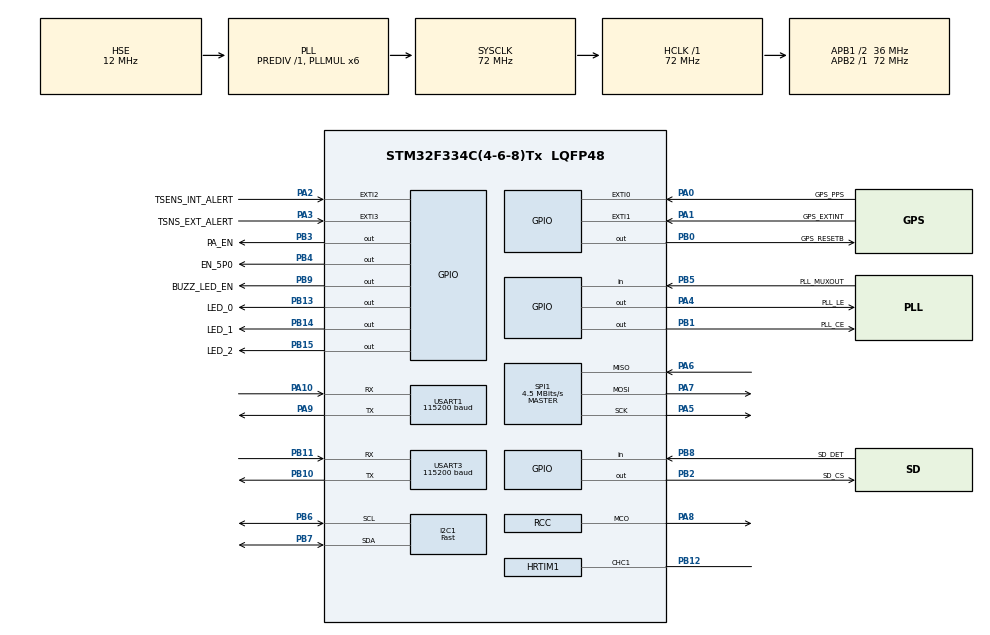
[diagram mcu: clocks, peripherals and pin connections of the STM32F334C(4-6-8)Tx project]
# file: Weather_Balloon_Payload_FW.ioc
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Dma.Request0=USART3_RX
Dma.Request1=USART3_TX
Dma.USART3_RX.0.Direction=DMA_PERIPH_TO_MEMORY
Dma.USART3_RX.0.Instance=DMA1_Channel3
Dma.USART3_RX.0.MemDataAlignment=DMA_MDATAALIGN_BYTE
Dma.USART3_RX.0.MemInc=DMA_MINC_ENABLE
Dma.USART3_RX.0.Mode=DMA_NORMAL
Dma.USART3_RX.0.PeriphDataAlignment=DMA_PDATAALIGN_BYTE
Dma.USART3_RX.0.PeriphInc=DMA_PINC_DISABLE
Dma.USART3_RX.0.Priority=DMA_PRIORITY_LOW
Dma.USART3_TX.1.Direction=DMA_MEMORY_TO_PERIPH
Dma.USART3_TX.1.Instance=DMA1_Channel2
Dma.USART3_TX.1.MemDataAlignment=DMA_MDATAALIGN_BYTE
Dma.USART3_TX.1.MemInc=DMA_MINC_ENABLE
Dma.USART3_TX.1.Mode=DMA_NORMAL
Dma.USART3_TX.1.PeriphDataAlignment=DMA_PDATAALIGN_BYTE
Dma.USART3_TX.1.PeriphInc=DMA_PINC_DISABLE
Dma.USART3_TX.1.Priority=DMA_PRIORITY_LOW
HRTIM1.CalibrationRate_nonIT=HRTIM_CALIBRATIONRATE_7300
HRTIM1.CompareUnit1-Output_TC1=HRTIM_COMPAREUNIT_1
HRTIM1.CompareValue1-Output_TC1=722
HRTIM1.NumberResetSource1-Output_TC1=1
HRTIM1.NumberResetTrigger-Output_TC1=0
HRTIM1.NumberSetSource1-Output_TC1=1
HRTIM1.Periode_TC=1444
HRTIM1.ResetOutput1_Source1-Output_TC1=HRTIM_OUTPUTRESET_TIMCMP1
HRTIM1.SetOutput1_Source1-Output_TC1=HRTIM_OUTPUTSET_TIMPER
I2C1.I2C_Speed_Mode=I2C_Fast
I2C1.Timing=0x0000020B
Mcu.Family=STM32F3
Mcu.Name=STM32F334C(4-6-8)Tx
Mcu.Package=LQFP48
NVIC.DMA1_Channel2_IRQn=true\:0\:0\:false\:false\:true\:false\:true\:true
NVIC.DMA1_Channel3_IRQn=true\:0\:0\:false\:false\:true\:false\:true\:true
NVIC.EXTI0_IRQn=true\:0\:0\:false\:false\:true\:true\:true\:true
NVIC.EXTI1_IRQn=true\:0\:0\:false\:false\:true\:true\:true\:true
NVIC.EXTI2_TSC_IRQn=true\:0\:0\:false\:false\:true\:true\:true\:true
NVIC.EXTI3_IRQn=true\:0\:0\:false\:false\:true\:true\:true\:true
NVIC.PriorityGroup=NVIC_PRIORITYGROUP_4
NVIC.TIM1_BRK_TIM15_IRQn=true\:0\:0\:false\:false\:true\:true\:true\:true
NVIC.TIM1_CC_IRQn=true\:0\:0\:false\:false\:true\:true\:true\:true
NVIC.TIM1_TRG_COM_TIM17_IRQn=true\:0\:0\:false\:false\:true\:true\:true\:true
NVIC.TIM1_UP_TIM16_IRQn=true\:0\:0\:false\:false\:true\:true\:true\:true
NVIC.TIM2_IRQn=true\:0\:0\:false\:false\:true\:true\:true\:true
NVIC.USART3_IRQn=true\:0\:0\:false\:false\:true\:true\:true\:true
PA0.GPIO_Label=GPS_PPS
PA0.GPIO_PuPd=GPIO_PULLDOWN
PA0.Signal=GPXTI0
PA1.GPIO_Label=GPS_EXTINT
PA1.Signal=GPXTI1
PA10.Mode=Asynchronous
PA10.Signal=USART1_RX
PA13.Mode=Serial_Wire
PA13.Signal=SYS_JTMS-SWDIO
PA14.Mode=Serial_Wire
PA14.Signal=SYS_JTCK-SWCLK
PA2.GPIO_Label=TSENS_INT_ALERT
PA2.GPIO_ModeDefaultEXTI=GPIO_MODE_IT_FALLING
PA2.GPIO_PuPd=GPIO_PULLUP
PA2.Signal=GPXTI2
PA3.GPIO_Label=TSNS_EXT_ALERT
PA3.GPIO_ModeDefaultEXTI=GPIO_MODE_IT_FALLING
PA3.GPIO_PuPd=GPIO_PULLUP
PA3.Signal=GPXTI3
PA4.GPIO_Label=PLL_LE
PA4.GPIO_Speed=GPIO_SPEED_FREQ_MEDIUM
PA4.Signal=GPIO_Output
PA5.Mode=Full_Duplex_Master
PA5.Signal=SPI1_SCK
PA6.Mode=Full_Duplex_Master
PA6.Signal=SPI1_MISO
PA7.Mode=Full_Duplex_Master
PA7.Signal=SPI1_MOSI
PA8.Mode=Clock-out
PA8.Signal=RCC_MCO
PA9.Mode=Asynchronous
PA9.Signal=USART1_TX
PB0.GPIO_Label=GPS_RESETB
PB0.Signal=GPIO_Output
PB1.GPIO_Label=PLL_CE
PB1.Signal=GPIO_Output
PB10.Mode=Asynchronous
PB10.Signal=USART3_TX
PB11.Mode=Asynchronous
PB11.Signal=USART3_RX
PB12.Mode=Output_TC1
PB12.Signal=HRTIM1_CHC1
PB13.GPIO_Label=LED_0
PB13.Signal=GPIO_Output
PB14.GPIO_Label=LED_1
PB14.Signal=GPIO_Output
PB15.GPIO_Label=LED_2
PB15.Signal=GPIO_Output
PB2.GPIO_Label=SD_CS
PB2.Signal=GPIO_Output
PB3.GPIO_Label=PA_EN
PB3.Signal=GPIO_Output
PB4.GPIO_Label=EN_5P0
PB4.Signal=GPIO_Output
PB5.GPIO_Label=PLL_MUXOUT
PB5.GPIO_PuPd=GPIO_PULLDOWN
PB5.Signal=GPIO_Input
PB6.Mode=I2C
PB6.Signal=I2C1_SCL
PB7.Mode=I2C
PB7.Signal=I2C1_SDA
PB8.GPIO_Label=SD_DET
PB8.GPIO_PuPd=GPIO_PULLUP
PB8.Signal=GPIO_Input
PB9.GPIO_Label=BUZZ_LED_EN
PB9.Signal=GPIO_Output
PF0\ /\ OSC_IN.Mode=HSE-External-Oscillator
PF0\ /\ OSC_IN.Signal=RCC_OSC_IN
PF1\ /\ OSC_OUT.Mode=HSE-External-Oscillator
PF1\ /\ OSC_OUT.Signal=RCC_OSC_OUT
ProjectManager.HeapSize=0x400
ProjectManager.StackSize=0x800
ProjectManager.TargetToolchain=Makefile
RCC.AHBFreq_Value=72000000
RCC.APB1CLKDivider=RCC_HCLK_DIV2
RCC.APB1Freq_Value=36000000
RCC.APB1TimFreq_Value=72000000
RCC.APB2Freq_Value=72000000
RCC.APB2TimFreq_Value=72000000
RCC.CortexFreq_Value=72000000
RCC.HCLKFreq_Value=72000000
RCC.HRTIMSelection=RCC_HRTIM1CLK_PLLCLK
RCC.HSE_VALUE=12000000
RCC.HSI_VALUE=8000000
RCC.LSE_VALUE=32768
RCC.PLLMUL=RCC_PLL_MUL6
RCC.PLLSourceVirtual=RCC_PLLSOURCE_HSE
RCC.RCC_MCOSource=RCC_MCO1SOURCE_HSE
RCC.SYSCLKFreq_VALUE=72000000
RCC.SYSCLKSourceVirtual=RCC_SYSCLKSOURCE_PLLCLK
SPI1.BaudRatePrescaler=SPI_BAUDRATEPRESCALER_16
SPI1.CalculateBaudRate=4.5 MBits/s
SPI1.DataSize=SPI_DATASIZE_8BIT
SPI1.Direction=SPI_DIRECTION_2LINES
SPI1.Mode=SPI_MODE_MASTER
SPI1.VirtualType=VM_MASTER
TIM1.Period=10000
TIM2.Period=7200
USART1.BaudRate=115200
USART1.VirtualMode-Asynchronous=VM_ASYNC
USART3.BaudRate=115200
USART3.VirtualMode-Asynchronous=VM_ASYNC
VP_FATFS_VS_Generic.Mode=User_defined
VP_TIM1_VS_ClockSourceINT.Mode=Internal
VP_TIM2_VS_ClockSourceINT.Mode=Internal
board=custom

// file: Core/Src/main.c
/* USER CODE BEGIN Header */
/**
  ******************************************************************************
  * @file           : main.c
  * @brief          : Main program body
  ******************************************************************************
  * @attention
  *
  * Copyright (c) 2023 STMicroelectronics.
  * All rights reserved.
  *
  * This software is licensed under terms that can be found in the LICENSE file
  * in the root directory of this software component.
  * If no LICENSE file comes with this software, it is provided AS-IS.
  *
  ******************************************************************************
  */
/* USER CODE END Header */
#include "main.h"
#include "dma.h"
#include "fatfs.h"
#include "hrtim.h"
#include "i2c.h"
#include "spi.h"
#include "tim.h"
#include "usart.h"
#include "gpio.h"

/* USER CODE BEGIN Includes */

#include <stdio.h>
#include <string.h>
#include <stdlib.h>
#include <stdbool.h>
#include <stdarg.h> //for va_list var arg functions
#include "adf4002.h"
#include "mcp9808.h"
#include "printf.h"
#include "ublox.h"
#include "ax25.h"
#include "aprs.h"

/* USER CODE END Includes */

/* USER CODE BEGIN PTD */
#define MAX_FILE_COUNT 16

typedef enum radio_mode_enum {
  MODE_MANUAL,
  MODE_AUTO,
  MODE_TEST
}radio_mode_t;

typedef enum radio_states_enum {
  STATE_IDLE,
  STATE_POWER_ON_LO,
  STATE_WAIT_FOR_LO_LOCK,
  STATE_POWER_ON_PA,
  STATE_WAIT_FOR_PA,
  STATE_TRANSMIT,
  STATE_GOTO_IDLE
}radio_state_t;

typedef enum fields_enum {
  MODE,
  RADIO_STATE,
  PA_EN,
  LO_GEN_EN,
  LO_PLL_R_COUNTER_H,
  LO_PLL_R_COUNTER_L,
  LO_PLL_N_COUNTER_H,
  LO_PLL_N_COUNTER_L,
  LO_PLL_LOCK,
  CALLSIGN_0,
  CALLSIGN_1,
  CALLSIGN_2,
  CALLSIGN_3,
  CALLSIGN_4,
  CALLSIGN_5,
  TX_PERIOD_H,
  TX_PERIOD_L,
  LOG_INTERVAL,
  SD_CARD_OK,
  GPS_PPS_OK,
  DEBUG_MODE,
  SEND_PACKET_NOW,
  NUM_FIELDS
}FieldId_t;

typedef struct sd_card_struct {
  FATFS filesys; // fatfs handle
  FRESULT result;
  DWORD free_clusters;
  DWORD free_sectors;
  DWORD total_sectors;
}SdCard_t;
/* USER CODE END PTD */

/* USER CODE BEGIN PD */
#define CMD_NONE        0x00
#define CMD_READ        0x01
#define CMD_READ_BLOCK  0x02
#define CMD_WRITE       0x03
#define CMD_WRITE_BLOCK 0x04
#define CMD_COMMS_TEST  0x05
#define NUM_CMDS        (CMD_COMMS_TEST + 1)
#define CMD_ERROR       0x06

#define START_BYTE  0xA5
#define IND_CMD     1
#define LEN_IND     (IND_CMD + 1)
#define BODY_IND    (LEN_IND + 1)

#define MAX_PACKET_LEN  ((2*NUM_FIELDS) + BODY_IND)
#define UART_STATE_RCV_HDDR   0x00
#define UART_STATE_RCV_BODY   0x01
#define UART_STATE_RCV_ERROR  0x02

#define TX_PERIOD_SECONDS     300

#define PLL_LOCK_DURATION_US  50000

#define STARTUP_DELAY_US      1000000

#define POLL_GPS_INTERVAL     5000

#define TEMPERATURE_INTERVAl  1000000

#define CALLSIGN_LEN          6
#define FILE_CHUNK_SIZE       256
#define DEBUG_LINE_SIZE       128
#define DEBUG_BUF_SIZE        (DEBUG_LINE_SIZE + 20)
#define DEBUG_MODE_NORMAL     0
#define DEBUG_MODE_CONSOLE    1
#define UART_DEBUG_BUF_SIZE   256
#define DEFAULT_MARK_COUNT    2103
#define DEFAULT_SPACE_COUNT   2102

#define FRAME_SIZE_MAX        128
#define SPACE                 0
#define MARK                  1
#define FRAME_DELIM           0x7E

#define APRS_SCRATCH_SIZE     256
#define MAX_APRS_FRAME_COUNT  8

/* USER CODE END PD */

/* USER CODE BEGIN PV */

uint8_t uart_rx_buf[MAX_PACKET_LEN];
volatile uint8_t packet_lock = 0;
uint8_t packet[MAX_PACKET_LEN];
int uart_rx_ind = 0;
uint8_t uart_rx_state = 0;
uint8_t uart_tx_buf[MAX_PACKET_LEN];
bool update_sys = true;

/* field memory for debug interface */
uint8_t field_mem[NUM_FIELDS];
bool field_mem_writable[NUM_FIELDS];

MCP9808_t tsns_on_board;
MCP9808_t tsns_outside;

ADF4002_t lo_gen_pll;

volatile bool startup = true;

volatile uint64_t microseconds = 0;
volatile uint64_t last_pps_timestamp = 0;
volatile uint64_t pps_duration_us = 0;
volatile uint64_t last_tx_timestamp = 0;
volatile uint64_t begin_lock_timestamp = 0;
volatile uint64_t last_log_timestamp = 0;
volatile uint64_t poll_gps_timestamp = 0;
volatile uint64_t gps_microseconds = 0; // the actual count of microseconds according to GPS
volatile int64_t gps_local_discrepancy = 0;

/* SD CARD THINGS */
SdCard_t sdcard;
bool sd_init_success = false;
FIL config_file;

/* GPS THINGS */
MaxM8C_t gps;
FIL gps_logfile;
bool log_gps = false;
gnss_position_t gps_pos;

/* RADIO THINGS */
int hi_rate_period = 5; // period in seconds for high-rate telemetry
uint8_t tx_frame[FRAME_SIZE_MAX];
int tx_frame_len = 0;
int mark_or_space = 0;
int frame_byte_ind = -1;
int frame_bit_ind = 0;
int seq_ones_count = 0;
bool stuff_bit = false;
uint8_t* aprs_scratch[APRS_SCRATCH_SIZE];
Ax25Frame_t* aprs_frames;
int aprs_frame_count = 0;

/* HOUSEKEEPING THINGS */
const char* debug_fname = "debug.txt";
char debug_buf[DEBUG_BUF_SIZE]; // used by the handy dandy debug function
char debug_line[DEBUG_LINE_SIZE]; // used by user (dats me) to snprintf stuff to
char uart_debug_buf[UART_DEBUG_BUF_SIZE];
char uart_scratch_buf[DEBUG_BUF_SIZE];
volatile int uart_debug_buf_pos = 0;
volatile int uart_debug_tx_len = 0;

/* USER CODE END PV */

void SystemClock_Config(void);
/* USER CODE BEGIN PFP */

void init_field_mem(uint8_t * mem, bool * writable);
void strstrip(char* str, char* loc);
void init_field_mem_from_config(uint8_t * mem, SdCard_t* sd, FIL* fp);
uint64_t get_microseconds();
bool init_sdcard(SdCard_t* sdcard);
int file_open_read(SdCard_t* sd, const TCHAR* fname, FIL* fp);
int file_open_write(SdCard_t* sd, const TCHAR* fname, FIL* fp);
void file_append_line(SdCard_t* sd, const TCHAR* fname, char* line);
void stop_fsk_output();
void start_fsk_output();
void set_fsk_freq_mark();
void set_fsk_freq_space();
void debug_all(char* line);
void debug(char* line);
void debug_uart(char* line);
void debug_gps(char* line);

/* USER CODE END PFP */

int main(void)
{

  /* MCU Configuration--------------------------------------------------------*/

  /* Reset of all peripherals, Initializes the Flash interface and the Systick. */
  HAL_Init();

  /* Configure the system clock */
  SystemClock_Config();

  /* Initialize all configured peripherals */
  MX_GPIO_Init();
  MX_DMA_Init();
  MX_HRTIM1_Init();
  MX_I2C1_Init();
  MX_SPI1_Init();
  MX_USART1_UART_Init();
  MX_USART3_UART_Init();
  MX_FATFS_Init();
  MX_TIM1_Init();
  MX_TIM2_Init();
  /* USER CODE BEGIN 2 */

  HAL_GPIO_WritePin(SD_CS_GPIO_Port, SD_CS_Pin, 1);

  // turn off RF amp power supplies
  HAL_GPIO_WritePin(EN_5P0_GPIO_Port, EN_5P0_Pin, 0);
  HAL_GPIO_WritePin(PA_EN_GPIO_Port, PA_EN_Pin, 0);

  // chip select lines high
  HAL_GPIO_WritePin(PLL_LE_GPIO_Port, PLL_LE_Pin, 0);
  HAL_GPIO_WritePin(SD_CS_GPIO_Port, SD_CS_Pin, 1);

  init_field_mem(field_mem, field_mem_writable);

  lo_gen_pll.hspi = &hspi1;
  lo_gen_pll.ce_pin = PLL_CE_Pin;
  lo_gen_pll.ce_port = PLL_CE_GPIO_Port;
  lo_gen_pll.le_pin = PLL_LE_Pin;
  lo_gen_pll.le_port = PLL_LE_GPIO_Port;
  adf_disable_chip(&lo_gen_pll);
  adf_init_mem(&lo_gen_pll);
  adf_set_n_counter(&lo_gen_pll, 1422, false);
  adf_set_r_counter(&lo_gen_pll, 120, false);
  adf_init_chip(&lo_gen_pll);
  adf_disable_chip(&lo_gen_pll);

  // begin receiveing stuff from Debug port
  HAL_UART_Receive_DMA(&huart3, uart_rx_buf + uart_rx_ind, BODY_IND);

  // start 10kHz clock
  HAL_TIM_Base_Start_IT(&htim2);

  // Init GPS Receiver
  gps.delay_ms = HAL_Delay;
  gps.console_print = debug_uart;
  ublox_init(&gps, &hi2c1, &huart1, GPS_RESETB_GPIO_Port, GPS_RESETB_Pin);
  ublox_hw_reset(&gps);
  HAL_Delay(500);
  ublox_config_i2c(&gps);
  ublox_config_gnss(&gps);
  HAL_Delay(500);
  ublox_enable_inf_messages(&gps);
  ublox_enable_utc_time_messages(&gps);
  ublox_enable_pvt_messages(&gps);
  ublox_enable_nav_messages(&gps);

  /* Temperature sensor things */
  tsns_on_board.hi2c = &hi2c1;
  tsns_on_board.i2c_addr = 0x30; // already left-shifted
  tsns_on_board.online = true;

  tsns_outside.hi2c = &hi2c1;
  tsns_outside.i2c_addr = 0x32; // already left-shifted
  tsns_outside.online = true;

  /* USER CODE END 2 */

  /* Infinite loop */
  while (1)
  {

    /* USER CODE BEGIN 3 */

    /* BEGIN PROCESSING DEBUG PACKET */
    if(packet_lock > 0){
      // process the packet

      // sanity check
      if(packet[0] == START_BYTE){
        uart_tx_buf[0] = START_BYTE;
        uart_tx_buf[IND_CMD] = packet[IND_CMD];
        switch(packet[IND_CMD]){
          case CMD_NONE:{
            // EZ clap
            break;
          }
          case CMD_READ:{
            // body is a list of indices
            uint8_t* tx_body = uart_tx_buf + BODY_IND;
            int tx_body_ind = 0;
            for(int i = 0; i < packet[BODY_IND]; i++){
              tx_body[tx_body_ind] = packet[i]; // copy field id
              tx_body_ind++;
              tx_body[tx_body_ind] = field_mem[packet[i]]; // copy actual data
              tx_body_ind++;
            }
            uart_tx_buf[LEN_IND] = tx_body_ind;
            break;
          }
          case CMD_READ_BLOCK:{
            // body is a start index and a length
            uint8_t block_start = packet[BODY_IND];
            uint8_t block_len = packet[BODY_IND + 1];
            if(block_len > NUM_FIELDS - block_start){
              if(NUM_FIELDS - block_start < 0){
                block_len = 0;
              }else{
                block_len = NUM_FIELDS - block_start;
              }
            }

            // copy from field memory
            memcpy(uart_tx_buf + BODY_IND, field_mem + block_start, block_len);

            break;
          }
          case CMD_WRITE:{
            // body is a list of id:value pairs
            uint8_t* rx_body = packet + BODY_IND;
            uint8_t* tx_body = uart_tx_buf + BODY_IND;
            int rx_body_ind = 0;
            int tx_body_ind = 0;
            for(int i = 0; i < packet[LEN_IND]; i++){
              uint8_t field_id = rx_body[i];
              i++;
              if(field_mem_writable[field_id]){
                field_mem[field_id] = rx_body[i];
                tx_body[tx_body_ind] = field_id;
                tx_body_ind++;
              }
            }
            uart_tx_buf[LEN_IND] = tx_body_ind;
            if(tx_body_ind > 0){
              update_sys = true;
            }
            break;
          }
          case CMD_WRITE_BLOCK:{
            // body is a start id + block of data
            uint8_t block_start = packet[BODY_IND];
            uint8_t block_len = packet[LEN_IND] - 1;
            if(block_len > NUM_FIELDS - block_start){
              if(NUM_FIELDS - block_start < 0){
                block_len = 0;
              }else{
                block_len = NUM_FIELDS - block_start;
              }
            }
            uint8_t* block = packet + BODY_IND + 1;
            int field_id = block_start;
            uint8_t updated_len = 0;
            for(int i = 0; i < block_len; i++){
              if(field_mem_writable[field_id]){
                field_mem[field_id] = block[i];
                updated_len++;
              }
              field_id++;
            }
            uart_tx_buf[LEN_IND] = 1;
            uart_tx_buf[BODY_IND] = updated_len;
            if(updated_len > 0){
              update_sys = true;
            }
            break;
          }
          case CMD_COMMS_TEST:{
            uart_tx_buf[LEN_IND] = 4;
            uart_tx_buf[BODY_IND] = packet[BODY_IND];
            uart_tx_buf[BODY_IND+1] = packet[BODY_IND+1];
            uart_tx_buf[BODY_IND+2] = packet[BODY_IND+2];
            uart_tx_buf[BODY_IND+3] = packet[BODY_IND+3];
            // nothing else to do, just send empty packet
          }
        }

        packet_lock = 0; // release lock so we can receive new data

        // transmit
        HAL_UART_Transmit_DMA(&huart3, uart_tx_buf, BODY_IND + uart_tx_buf[LEN_IND]);
      }

    }
    /* END PROCESSING DEBUG PACKET */

    /* BEGIN CHECKING FOR FIELD MEM UPDATES */
    if(update_sys){
      if(field_mem[MODE] == MODE_MANUAL){
        if(field_mem[LO_GEN_EN]){
          uint16_t r_value = (field_mem[LO_PLL_R_COUNTER_H] << 8) | field_mem[LO_PLL_R_COUNTER_L];
          uint16_t n_value = (field_mem[LO_PLL_N_COUNTER_H] << 8) | field_mem[LO_PLL_N_COUNTER_L];
          adf_set_r_counter(&lo_gen_pll, r_value, true);
          adf_set_n_counter(&lo_gen_pll, n_value, true);
          adf_enable_chip(&lo_gen_pll);
          HAL_GPIO_WritePin(EN_5P0_GPIO_Port, EN_5P0_Pin, 1); // enable misc RF amps and such
        }else{
          adf_disable_chip(&lo_gen_pll);
          HAL_GPIO_WritePin(EN_5P0_GPIO_Port, EN_5P0_Pin, 0); // enable misc RF amps and such
        }
        if(field_mem[PA_EN]){
          HAL_GPIO_WritePin(PA_EN_GPIO_Port, PA_EN_Pin, 1); // enable misc RF amps and such
        }else{
          HAL_GPIO_WritePin(PA_EN_GPIO_Port, PA_EN_Pin, 0); // enable misc RF amps and such
        }

        if(field_mem[SEND_PACKET_NOW]){
          set_fsk_freq_mark();
          start_fsk_output();
        }else{
          stop_fsk_output();
        }

      }
      update_sys = false;
    }
    /* END CHECKING FOR FIELD MEM UPDATES */

    /* BEGIN CHECKING GPS LOCK */
    // check for PPS presence
    if (pps_duration_us == 0 ||
        get_microseconds() > (last_pps_timestamp + pps_duration_us + 2500) ){
      // we don't have GPS signal
      if(field_mem[GPS_PPS_OK]){
        debug_all("GPS PPS not present/lost");
        debug_all("");
      }
      field_mem[GPS_PPS_OK] = false;
      HAL_GPIO_WritePin(LED_0_GPIO_Port, LED_0_Pin, 0);
    }else{
      // we have a GPS signal!
      if(!field_mem[GPS_PPS_OK]){
        gps_microseconds = get_microseconds(); // start gps counter in agreement with XO
        debug_all("GPS PPS present");
      }
      field_mem[GPS_PPS_OK] = true;
      HAL_GPIO_WritePin(LED_0_GPIO_Port, LED_0_Pin, 1);
    }
    /* END GPS LOCK CHECKING */

    /* BEGIN STARTUP DELAY CHECKING */
    if(startup && get_microseconds() > STARTUP_DELAY_US){
      if(HAL_GPIO_ReadPin(SD_DET_GPIO_Port, SD_DET_Pin) == 0){
        // an SD card is inserted
        // attempt to initialize the SD card
        debug_all("Attempting to intialize SD card...");
        field_mem[SD_CARD_OK] = init_sdcard(&sdcard);
      }
      if(field_mem[SD_CARD_OK]){
        // read config parameters from sd card
        if(file_open_read(&sdcard, "config.txt", &config_file) == 0){
          debug_all("Initializing fields from SD card...");
          init_field_mem_from_config(field_mem, &sdcard, &config_file);
          update_sys = true;
          f_close(&config_file);
        }

        // attempt to open GPS log file
        if((log_gps = (file_open_write(&sdcard, UBLOX_LOG_FILENAME, &gps_logfile) == 0))){
          f_close(&gps_logfile); // close until we need it
        }
      }else{
        debug_all("SD card init failed...");
      }
      startup = false;
    }
    /* END STARTUP DELAY CHECKING */

    /* BEGIN GPS DATA GRAB AND LOGGING */
    if(get_microseconds() - poll_gps_timestamp > POLL_GPS_INTERVAL){
      // debug_all("Polling GPS...");
      poll_gps_timestamp = get_microseconds();
      int avail = ublox_bytes_available_i2c(&gps);
      if(avail > 0){
        // snprintf(debug_line, DEBUG_LINE_SIZE, "GPS bytes available: %d", avail);
        // debug_all(debug_line);
        // HAL_Delay(10);
        ublox_read_all_data_i2c(&gps, 0);
        ublox_parse_messages(&gps);
        ublox_print_all_messages(&gps, debug_all); //debug_line);
        // // debug_all(debug_line);

        // TODO do real things with the GPS messages
        for(int i = 0; i < gps.msg_count; i++){
          ubx_msg_t* msg = gps.msgs + i;
          if(msg->class == UBX_NAV_CLASS){

            if(msg->id == 0x21){
              // UBX-NAV-TIMEUTC
              gnss_timestamp_t* ts = &(gps.ts);
              ublox_get_gnss_timestamp(msg->payload, ts);
              // TODO packetize and all that
            }else if(msg->id == 0x14){
              // UBX-NAV-HPPOSLLH
              ublox_parse_hpposllh(msg, &gps_pos);

            }
          }
        }

        ublox_cleanup_messages(&gps);

        ublox_poll_message_i2c(&gps, UBX_NAV_CLASS, 0x35); // poll satellite information
        HAL_Delay(10);

        ublox_read_all_data_i2c(&gps, 0);
        ublox_parse_messages(&gps);
        ublox_print_all_messages(&gps, debug_all); //debug_line);
        ublox_cleanup_messages(&gps);
      }else if(avail < 0){
        // debug_all("GPS likely offline.");
      }

    }

    // write generic data to the log file
    if(get_microseconds() - last_log_timestamp > (field_mem[LOG_INTERVAL] * 1000000)){
      last_log_timestamp = get_microseconds();
    }
    /* END GPS DATA GRAB AND LOGGING */

    /* BEGIN TEMPERATURE AND BAROMETRIC PRESSURE DATA GRAB */
    if( (tsns_on_board.online && get_microseconds() - tsns_on_board.update_ts > TEMPERATURE_INTERVAl) ||
        (!tsns_on_board.online && get_microseconds() - tsns_on_board.update_ts > 10*TEMPERATURE_INTERVAl)
    ){
      mcp9808_get_temperature(&tsns_on_board);
      tsns_on_board.update_ts = get_microseconds();
      if(!tsns_on_board.online){
        debug_all("On-board temp sensor offline :(");
      }else{
        // snprintf(debug_line, DEBUG_LINE_SIZE, "(T-ONBOARD) %.2f°C", tsns_on_board.temp);
        // debug_all(debug_line);
      }
    }
    if( (tsns_outside.online && get_microseconds() - tsns_outside.update_ts > TEMPERATURE_INTERVAl) ||
        (!tsns_outside.online && get_microseconds() - tsns_outside.update_ts > 10*TEMPERATURE_INTERVAl)
    ){
      mcp9808_get_temperature(&tsns_outside);
      tsns_outside.update_ts = get_microseconds();
      if(!tsns_outside.online){
        debug_all("Outside temp sensor offline :(");
      }else{
        // snprintf(debug_line, DEBUG_LINE_SIZE, "(T-OUTSIDE) %.2f°C", tsns_outside.temp);
        // debug_all(debug_line);
      }
    }

    /* END TEMPERATURE AND BAROMETRIC PRESSURE DATA GRAB */

    /* BEGIN FORMING APRS PACKETS */
    uint64_t elapsed_us = get_microseconds() - last_tx_timestamp;
    uint16_t tx_period = (field_mem[TX_PERIOD_H] << 8) | field_mem[TX_PERIOD_L];
    if ((elapsed_us / 1000000) >= tx_period){
      //
      debug_all("Forming APRS packet...");
      int offset = 0;
      /* LAT/LONG POSITION REPORT */
      /* with timestamp, with APRS messaging, zulu time, with comment */
      offset += snprintf(aprs_scratch + offset, APRS_SCRATCH_SIZE - offset, "%c", APRS_POS_WITH_TS_MSG);

      /* append UTC timestamp (zulu time) */
      offset += snprintf(aprs_scratch + offset, APRS_SCRATCH_SIZE - offset, "%02d%02d%02dz", gps.ts.day, gps.ts.hour, gps.ts.minute);

      /* append latitude */
      int lat_degrees = (int)gps_pos.lat;
      float lat_minutes = (gps_pos.lat - 1.0*lat_degrees)*60.0; // 60 minutes per degree
      char n_or_s = (lat_degrees > 0 ? 'N' : 'S');
      char symbol_table_id = '/'; // primary symbol table
      offset += snprintf(aprs_scratch + offset, APRS_SCRATCH_SIZE - offset, "%02d%05.2f%c%c", lat_degrees, lat_minutes, n_or_s, symbol_table_id);

      /* append longitude */
      int lon_degrees = (int)gps_pos.lon;
      float gps_lon_dec = gps_pos.lon;
      char w_or_e = 'E';
      if(lon_degrees < 0){
        lon_degrees = 0 - lon_degrees;
        gps_lon_dec = 0.0 - gps_lon_dec;
        w_or_e = 'W';
      }
      float lon_minutes = (gps_lon_dec - 1.0*lon_degrees)*60.0; // 60 minutes per degree
      char symbol_code = 'O'; // balloon
      offset += snprintf(aprs_scratch + offset, APRS_SCRATCH_SIZE - offset, "%02d%05.2f%c%c", lon_degrees, lon_minutes, w_or_e, symbol_code);

      /* append comment */
      int alt_ft = (int)(gps_pos.altitude * 3.2808);
      char* comment = "Test";
      offset += snprintf(aprs_scratch + offset, APRS_SCRATCH_SIZE - offset, "%s /A=%06d", comment, alt_ft);

      debug_all(aprs_scratch);
    }
    /* END FORMING APRS PACKETS */
  }
  /* USER CODE END 3 */
}

void SystemClock_Config(void)
{
  RCC_OscInitTypeDef RCC_OscInitStruct = {0};
  RCC_ClkInitTypeDef RCC_ClkInitStruct = {0};
  RCC_PeriphCLKInitTypeDef PeriphClkInit = {0};

  /** Initializes the RCC Oscillators according to the specified parameters
  * in the RCC_OscInitTypeDef structure.
  */
  RCC_OscInitStruct.OscillatorType = RCC_OSCILLATORTYPE_HSI|RCC_OSCILLATORTYPE_HSE;
  RCC_OscInitStruct.HSEState = RCC_HSE_ON;
  RCC_OscInitStruct.HSEPredivValue = RCC_HSE_PREDIV_DIV1;
  RCC_OscInitStruct.HSIState = RCC_HSI_ON;
  RCC_OscInitStruct.HSICalibrationValue = RCC_HSICALIBRATION_DEFAULT;
  RCC_OscInitStruct.PLL.PLLState = RCC_PLL_ON;
  RCC_OscInitStruct.PLL.PLLSource = RCC_PLLSOURCE_HSE;
  RCC_OscInitStruct.PLL.PLLMUL = RCC_PLL_MUL6;
  if (HAL_RCC_OscConfig(&RCC_OscInitStruct) != HAL_OK)
  {
    Error_Handler();
  }

  /** Initializes the CPU, AHB and APB buses clocks
  */
  RCC_ClkInitStruct.ClockType = RCC_CLOCKTYPE_HCLK|RCC_CLOCKTYPE_SYSCLK
                              |RCC_CLOCKTYPE_PCLK1|RCC_CLOCKTYPE_PCLK2;
  RCC_ClkInitStruct.SYSCLKSource = RCC_SYSCLKSOURCE_PLLCLK;
  RCC_ClkInitStruct.AHBCLKDivider = RCC_SYSCLK_DIV1;
  RCC_ClkInitStruct.APB1CLKDivider = RCC_HCLK_DIV2;
  RCC_ClkInitStruct.APB2CLKDivider = RCC_HCLK_DIV1;

  if (HAL_RCC_ClockConfig(&RCC_ClkInitStruct, FLASH_LATENCY_2) != HAL_OK)
  {
    Error_Handler();
  }
  PeriphClkInit.PeriphClockSelection = RCC_PERIPHCLK_HRTIM1|RCC_PERIPHCLK_USART1
                              |RCC_PERIPHCLK_I2C1|RCC_PERIPHCLK_TIM1;
  PeriphClkInit.Usart1ClockSelection = RCC_USART1CLKSOURCE_PCLK1;
  PeriphClkInit.I2c1ClockSelection = RCC_I2C1CLKSOURCE_HSI;
  PeriphClkInit.Tim1ClockSelection = RCC_TIM1CLK_HCLK;
  PeriphClkInit.Hrtim1ClockSelection = RCC_HRTIM1CLK_PLLCLK;
  if (HAL_RCCEx_PeriphCLKConfig(&PeriphClkInit) != HAL_OK)
  {
    Error_Handler();
  }
  HAL_RCC_MCOConfig(RCC_MCO, RCC_MCO1SOURCE_HSE, RCC_MCODIV_1);
}

/* USER CODE BEGIN 4 */

void init_field_mem(uint8_t * mem, bool* writable){
  memset(writable, 0x00, NUM_FIELDS);
  memset(mem, 0x00, NUM_FIELDS);
  mem[MODE] = MODE_MANUAL;
  writable[MODE] = true;

  mem[RADIO_STATE] = STATE_GOTO_IDLE;
  writable[RADIO_STATE] = true; // may want to change this later

  mem[PA_EN] = 0;
  writable[PA_EN] = true;

  mem[LO_GEN_EN] = 0;
  writable[LO_GEN_EN] = true;

  mem[LO_PLL_R_COUNTER_H] = 0;
  writable[LO_PLL_R_COUNTER_H] = true;
  mem[LO_PLL_R_COUNTER_L] = 120;
  writable[LO_PLL_R_COUNTER_L] = true;

  mem[LO_PLL_N_COUNTER_H] = (1422 >> 8) & 0xFF;
  writable[LO_PLL_N_COUNTER_H] = true;
  mem[LO_PLL_N_COUNTER_L] = (1422 & 0xFF);
  writable[LO_PLL_N_COUNTER_L] = true;

  mem[CALLSIGN_0] = 'K';
  writable[CALLSIGN_0] = true;
  mem[CALLSIGN_1] = 'E';
  writable[CALLSIGN_1] = true;
  mem[CALLSIGN_2] = '8';
  writable[CALLSIGN_2] = true;
  mem[CALLSIGN_3] = 'I';
  writable[CALLSIGN_3] = true;
  mem[CALLSIGN_4] = 'T';
  writable[CALLSIGN_4] = true;
  mem[CALLSIGN_5] = 'F';
  writable[CALLSIGN_5] = true;

  mem[LOG_INTERVAL] = 5;
  writable[LOG_INTERVAL] = true;

  mem[TX_PERIOD_H] = (TX_PERIOD_SECONDS >> 8) & 0xFF;
  writable[TX_PERIOD_H] = true;
  mem[TX_PERIOD_L] = TX_PERIOD_SECONDS & 0xFF;
  writable[TX_PERIOD_L] = true;

  mem[SD_CARD_OK] = false; // default to this
  mem[GPS_PPS_OK] = false; // default

  mem[DEBUG_MODE] = DEBUG_MODE_NORMAL;
  writable[DEBUG_MODE] = true;

  mem[SEND_PACKET_NOW] = 0;
  writable[SEND_PACKET_NOW] = true;

  // populate the tx_frame with our callsign
  tx_frame_len = 7;
  for(int i = 0; i < tx_frame_len; i++){
    tx_frame[i] = mem[CALLSIGN_0 + i];
  }
  tx_frame[6] = ' ';
}

/**
 * strip whitespace from str storing result in loc
 * loc must have at least as much space as str
*/
void strstrip(char* str, char* loc){
  int i = 0;
  while(str[i] == ' ' || str[i] == '\n' || str[i] == '\r' || str[i] == '\t'){
    i++;
  }
  strcpy(loc, str + i); // copy over everything except leading whitespace

  i = strlen(loc) - 1; // get index of last character
  while(i >= 0 && (loc[i] == ' ' || loc[i] == '\n' || loc[i] == '\r' || loc[i] == '\t')){
    loc[i] = '\0'; // set this whitespace to null termination
    i--;
  }
}

/**
 * Initialize fields from a file on the SD card
 * Assumes fp represents an open file
*/
void init_field_mem_from_config(uint8_t * mem, SdCard_t* sd, FIL* fp){
  BYTE readbuf[FILE_CHUNK_SIZE];
  UINT bytes_read;
  char* token;

  do{
    sd->result = f_read(fp, readbuf, FILE_CHUNK_SIZE, &bytes_read);
    if(sd->result != FR_OK){
      // TODO indicate failure
      break;
    }

    BYTE* word = (BYTE*)malloc(bytes_read); // likely more space than we need
    token = strtok(readbuf, "="); // get first KEY
    while(token != NULL){
      strstrip(token, word); // word now holds the KEY

      // get VALUE for this key
      token = strtok(NULL, "\n");

      if(strcmp(word, "MODE") == 0){
        // radio mode
        strstrip(token, word);
        if(strcmp(word, "AUTO") == 0){
          mem[MODE] = MODE_AUTO;
        }else if(strcmp(word, "TEST") == 0){
          mem[MODE] = MODE_TEST;
        }else{
          // for any other crap, just default to manual
          mem[MODE] = MODE_MANUAL;
        }
      }else if(strcmp(word, "CALLSIGN") == 0){
        strstrip(token, word);
        // copy over callsign
        memcpy(mem + CALLSIGN_0, word, CALLSIGN_LEN);
      }else if(strcmp(word, "TX_PERIOD") == 0){
        strstrip(token, word);
        int period = atoi(word);
        mem[TX_PERIOD_H] = (period >> 8) & 0xFF;
        mem[TX_PERIOD_L] = period & 0xFF;
      }else if(strcmp(word, "LOG_INTERVAL") == 0){
        strstrip(token, word);
        mem[LOG_INTERVAL] = atoi(word);
      }else if(strcmp(word, "DEBUG_MODE") == 0){
        strstrip(token, word);
        if(strcmp(word, "CONSOLE") == 0){
          mem[DEBUG_MODE] = DEBUG_MODE_CONSOLE;
        }else{
          mem[DEBUG_MODE] = DEBUG_MODE_NORMAL;
        }
      }else if(strcmp(word, "LO_N_DIV") == 0){
        strstrip(token, word);
        int n_div = atoi(word);
        mem[LO_PLL_N_COUNTER_H] = (n_div >> 8) & 0xFF;
        mem[LO_PLL_N_COUNTER_L] = n_div & 0xFF;
      }else if(strcmp(word, "MARK_COUNT") == 0){
        strstrip(token, word);
        int count = atoi(word);
        // mem[LO_PLL_N_COUNTER_H] = (n_div >> 8) & 0xFF;
        // mem[LO_PLL_N_COUNTER_L] = n_div & 0xFF;
      }else if(strcmp(word, "SAMPLE_PACKET") == 0){
        strstrip(token, word);
        memcpy(tx_frame + 6, word, strlen(word));
        tx_frame_len = 6 + strlen(word);
      }else if(strcmp(word, "LAT") == 0){
        strstrip(token, word);
        gps_pos.lat = atof(word);
      }else if(strcmp(word, "LON") == 0){
        strstrip(token, word);
        gps_pos.lon = atof(word);
      }else if(strcmp(word, "ALT") == 0){
        strstrip(token, word);
        gps_pos.alt = atof(word);
      }else if(strcmp(word, "HI_RATE_PER") == 0){
        strstrip(token, word);
        hi_rate_period = atoi(word);
      }
      // get next KEY
      token = strtok(NULL, "=");
    }
    free(word);
  }while(bytes_read == FILE_CHUNK_SIZE);
  // TODO handle files bigger than FILE_CHUNK_SIZE

}

/**
 * Get microseconds since startup
*/
uint64_t get_microseconds(){
  return microseconds;
}

	// FR_OK = 0,				/* (0) Succeeded */
	// FR_DISK_ERR,			/* (1) A hard error occurred in the low level disk I/O layer */
	// FR_INT_ERR,				/* (2) Assertion failed */
	// FR_NOT_READY,			/* (3) The physical drive cannot work */
	// FR_NO_FILE,				/* (4) Could not find the file */
	// FR_NO_PATH,				/* (5) Could not find the path */
	// FR_INVALID_NAME,		/* (6) The path name format is invalid */
	// FR_DENIED,				/* (7) Access denied due to prohibited access or directory full */
	// FR_EXIST,				/* (8) Access denied due to prohibited access */
	// FR_INVALID_OBJECT,		/* (9) The file/directory object is invalid */
	// FR_WRITE_PROTECTED,		/* (10) The physical drive is write protected */
	// FR_INVALID_DRIVE,		/* (11) The logical drive number is invalid */
	// FR_NOT_ENABLED,			/* (12) The volume has no work area */
	// FR_NO_FILESYSTEM,		/* (13) There is no valid FAT volume */
	// FR_MKFS_ABORTED,		/* (14) The f_mkfs() aborted due to any parameter error */
	// FR_TIMEOUT,				/* (15) Could not get a grant to access the volume within defined period */
	// FR_LOCKED,				/* (16) The operation is rejected according to the file sharing policy */
	// FR_NOT_ENOUGH_CORE,		/* (17) LFN working buffer could not be allocated */
	// FR_TOO_MANY_OPEN_FILES,	/* (18) Number of open files > _FS_SHARE */
	// FR_INVALID_PARAMETER	/* (19) Given parameter is invalid */
void sdcard_print_error(SdCard_t* sd){
  int offset = snprintf(debug_line, DEBUG_LINE_SIZE, "SD Card Error: ");
  if(sd->result == FR_INVALID_DRIVE){
    snprintf(debug_line + offset, DEBUG_LINE_SIZE - offset, "FR_INVALID_DRIVE");
  }else if(sd->result == FR_NOT_ENABLED){
    snprintf(debug_line + offset, DEBUG_LINE_SIZE - offset, "FR_NOT_ENABLED");
  }else if(sd->result == FR_WRITE_PROTECTED){
    snprintf(debug_line + offset, DEBUG_LINE_SIZE - offset, "FR_WRITE_PROTECTED");
  }else if(sd->result == FR_DISK_ERR){
    snprintf(debug_line + offset, DEBUG_LINE_SIZE - offset, "FR_DISK_ERR");
  }else if(sd->result == FR_NO_FILESYSTEM){
    snprintf(debug_line + offset, DEBUG_LINE_SIZE - offset, "FR_NO_FILESYSTEM");
  }else if(sd->result == FR_INT_ERR){
    snprintf(debug_line + offset, DEBUG_LINE_SIZE - offset, "FR_INT_ERR");
  }else if(sd->result == FR_NOT_READY){
    snprintf(debug_line + offset, DEBUG_LINE_SIZE - offset, "FR_NOT_READY");
  }else if(sd->result == FR_DENIED){
    snprintf(debug_line + offset, DEBUG_LINE_SIZE - offset, "FR_DENIED");
  }else if(sd->result == FR_LOCKED){
    snprintf(debug_line + offset, DEBUG_LINE_SIZE - offset, "FR_LOCKED");
  }else if(sd->result == FR_INVALID_NAME){
    snprintf(debug_line + offset, DEBUG_LINE_SIZE - offset, "FR_INVALID_NAME");
  }else{
    snprintf(debug_line + offset, DEBUG_LINE_SIZE - offset, "Unknown error: %d", sd->result);
  }

  debug_uart(debug_line);
}

/**
 * Initialize SD card, including getting statistics
 * Return true if there is an SD card attached
*/
bool init_sdcard(SdCard_t* sd){

  char* path = {'\0','\0','\0','\0'};

  sd->result = f_mount(&(sd->filesys), "", 1);
  if (sd->result != FR_OK){
    sdcard_print_error(sd);
    return false;
  }

  FATFS* get_free_fs;
  sd->result = f_getfree("", &(sd->free_clusters), &get_free_fs);
  if (sd->result != FR_OK){
    debug_uart("SD Card getfree failed.");
    return false;
  }

  sd->total_sectors = (get_free_fs->n_fatent - 2) * get_free_fs->csize;
  sd->free_sectors = sd->free_clusters * get_free_fs->csize;

  return true;
}

/**
 * Opens file fname for reading (if it exists)
 * Returns -1 if file doesn't exist.
 * Returns index of file handle if file exists
*/
int file_open_read(SdCard_t* sd, const TCHAR* fname, FIL* fp){
  int retval = -1;
  sd->result = f_open(fp, fname, FA_READ);
  if(sd->result != FR_OK){
    // TODO set some error in field mem
    return retval;
  }
  // else, success
  return 0;
}

/**
 * Attempts to open a file for writing, creating file if
 * it doesn't exist.
 * Returns -1 of failure. 0 on success
*/
int file_open_write(SdCard_t* sd, const TCHAR* fname, FIL* fp){
  sd->result = f_open(fp, fname, FA_WRITE | FA_OPEN_ALWAYS);// | FA_CREATE_ALWAYS);
  if(sd->result != FR_OK){
    sd->result = f_open(fp, fname, FA_WRITE | FA_OPEN_ALWAYS | FA_CREATE_ALWAYS);
  }

  if(sd->result != FR_OK){
    return -1;
  }

  f_lseek(fp, fp->fsize);
  return 0;
}

/**
 * Opens file of name fname and appends line, writing a trailing newline
 * character if one is not included in line.
 * Closes file after operation is done.
*/
void file_append_line(SdCard_t* sd, const TCHAR* fname, char* line){
  FIL ftmp;
  if(file_open_write(sd, fname, &ftmp) != 0){
    return; // fail
  }
  UINT bytes_wrote;
  UINT len = strlen(line);
  sd->result = f_write(&ftmp, (BYTE*)line, len, &bytes_wrote);

  if(line[len - 1] != '\n'){
    BYTE tmp_byte = '\n';
    sd->result = f_write(&ftmp, &tmp_byte, 1, &bytes_wrote);
  }
  f_close(&ftmp);
}

void start_fsk_output(){
  HAL_HRTIM_WaveformCountStart(&hhrtim1, HRTIM_TIMERID_TIMER_C);
  HAL_HRTIM_WaveformOutputStart(&hhrtim1, HRTIM_OUTPUT_TC1);
}

void stop_fsk_output(){
  HAL_HRTIM_WaveformOutputStop(&hhrtim1, HRTIM_OUTPUT_TC1);
  HAL_HRTIM_WaveformCountStop(&hhrtim1, HRTIM_TIMERID_TIMER_C);
}

void set_fsk_freq_mark(){
  hhrtim1.Instance->sTimerxRegs[HRTIM_TIMERINDEX_TIMER_C].CMP1xR = DEFAULT_MARK_COUNT >> 1;
  hhrtim1.Instance->sTimerxRegs[HRTIM_TIMERINDEX_TIMER_C].PERxR = DEFAULT_MARK_COUNT;
}

void set_fsk_freq_space(){
  hhrtim1.Instance->sTimerxRegs[HRTIM_TIMERINDEX_TIMER_C].CMP1xR = DEFAULT_SPACE_COUNT >> 1;
  hhrtim1.Instance->sTimerxRegs[HRTIM_TIMERINDEX_TIMER_C].PERxR = DEFAULT_SPACE_COUNT;
}

/**
 * Sends debug info to SD card and UART
*/
void debug_all(char* line){
  debug(line);
  debug_uart(line);
  // line[0] = '\0';
}

/**
 * Handy-dandy function for writing a timestamped debug line to a file
 * using the global sdcard object.
*/
void debug(char* line){
  if(field_mem[SD_CARD_OK]){
    double t_stamp_sec = (double)get_microseconds() / 1000000.0;
    snprintf(debug_buf, DEBUG_BUF_SIZE, "[%.3f]: %s\n", t_stamp_sec, line);
    file_append_line(&sdcard, debug_fname, debug_buf);
  }
}

/**
 * handy dandy function for writing a timestamped debug line over the UART3
 * hardware uart port. Send a NULL line to flush the uart debug buffer.
*/
void debug_uart(char* line){
  if(field_mem[DEBUG_MODE] == DEBUG_MODE_CONSOLE){

    if(line != NULL){
      double t_stamp_sec = (double)get_microseconds() / 1000000.0;
      int add_size = snprintf(uart_scratch_buf, DEBUG_BUF_SIZE, "[%.3f]: %s\r\n", t_stamp_sec, line);

      // tack on this line to our debug buffer, if it will fit :)
      if(uart_debug_buf_pos + add_size < UART_DEBUG_BUF_SIZE){
        strcpy(uart_debug_buf + uart_debug_buf_pos, uart_scratch_buf);
        uart_debug_buf_pos += add_size;
      }
    }

    // can we transmit now? If so, do it starting from position 0.
    if(huart3.gState == HAL_UART_STATE_READY){
      uart_debug_tx_len = uart_debug_buf_pos;
      HAL_UART_Transmit_DMA(&huart3, uart_debug_buf, uart_debug_tx_len);
    }
  }
}

/**
 * Writes a timestamped string to both the GPS logfile, and the UART
 * debug stream.
*/
void debug_gps(char* line){
  debug_uart(line);

  double t_stamp_sec = (double)get_microseconds() / 1000000.0;
  snprintf(debug_buf, DEBUG_BUF_SIZE, "[%12.3f]: %s\n", t_stamp_sec, line);
  file_append_line(&sdcard, UBLOX_LOG_FILENAME, debug_buf);
}

/**
 *
*/
void HAL_UART_TxCpltCallback(UART_HandleTypeDef *huart){
  if(huart->Instance == USART3){
    if(field_mem[DEBUG_MODE] == DEBUG_MODE_CONSOLE){
      if(uart_debug_buf_pos == uart_debug_tx_len){
        // user has added nothing since transmit was triggered
        uart_debug_buf_pos = 0;
        uart_debug_tx_len = 0;
      }else if(uart_debug_buf_pos > uart_debug_tx_len){
        // user has appended stuff later in the buffer since last tx.
        // So we need to start at uart_debug_tx_len and transmit up to
        // uart_debug_buf_pos. Then it's safe to reset uart_debug_buf_pos = 0
        int len = uart_debug_buf_pos - uart_debug_tx_len;
        int offset = uart_debug_tx_len;
        uart_debug_tx_len = uart_debug_buf_pos;
        HAL_UART_Transmit_DMA(huart, uart_debug_buf + offset, len);
      }else{
        // uhhh wut
      }
    }
  }
}

/**
 * Callback for handling completion of a UART receive operation
*/
void HAL_UART_RxCpltCallback(UART_HandleTypeDef *huart){
  if(huart->Instance == huart3.Instance){
    if(uart_rx_ind < BODY_IND){
      // we've just received the header, probably
      if(uart_rx_buf[0] == START_BYTE && uart_rx_buf[IND_CMD] < NUM_CMDS){
        uart_rx_ind += BODY_IND;

        int len = uart_rx_buf[LEN_IND];

        if(len <= MAX_PACKET_LEN - BODY_IND){
          HAL_UART_Receive_DMA(&huart3, uart_rx_buf + uart_rx_ind, len);
        }else{
          // error handling
        }

      }else{
        // error handling
      }
    }else{
      // we must've just received the body
      // if packet_lock is 0, copy over the new data and set packet_lock
      if(packet_lock == 0){
        memcpy(packet, uart_rx_buf, BODY_IND + uart_rx_buf[LEN_IND]);
        packet_lock = 1;
      }
      uart_rx_ind = 0;
      HAL_UART_Receive_DMA(&huart3, uart_rx_buf + uart_rx_ind, BODY_IND);
    }
  }
}

/**
 * callback for TIMER interrupts
 * This is where we will run the main state machine
 * This is also where we'll walk through the data to transmit
*/
void HAL_TIM_PeriodElapsedCallback(TIM_HandleTypeDef *htim){
  if(htim->Instance == htim2.Instance){
    // 10kHz housekeeping clock
    microseconds += 100;

    if(field_mem[MODE] == MODE_MANUAL){
      return;
    }

    /* BEGIN MAIN STATE MACHINE */
    switch(field_mem[RADIO_STATE]){
      case STATE_GOTO_IDLE:{
        HAL_TIM_Base_Stop(&htim1); // stop the baud clock
        stop_fsk_output();
        // HAL_HRTIM_WaveformOutputStop(&hhrtim1, HRTIM_OUTPUT_TC1); // stop the IF signal
        HAL_GPIO_WritePin(PA_EN_GPIO_Port, PA_EN_Pin, 0);
        HAL_GPIO_WritePin(EN_5P0_GPIO_Port, EN_5P0_Pin, 0);
        field_mem[RADIO_STATE] = STATE_IDLE;
        break;
      }
      case STATE_IDLE:{
        // what to do, what to do...
        uint64_t elapsed_us = get_microseconds() - last_tx_timestamp;
        uint16_t tx_period = (field_mem[TX_PERIOD_H] << 8) | field_mem[TX_PERIOD_L];
        if ((elapsed_us / 1000000) >= tx_period && tx_frame_len > 0){
          // get the ball rolling on transmitting
          field_mem[RADIO_STATE] = STATE_POWER_ON_LO;
        }
        break;
      }
      case STATE_POWER_ON_LO:{
        adf_enable_chip(&lo_gen_pll);
        HAL_GPIO_WritePin(EN_5P0_GPIO_Port, EN_5P0_Pin, 1); // enable misc RF amps and such
        begin_lock_timestamp = get_microseconds();
        field_mem[RADIO_STATE] = STATE_WAIT_FOR_LO_LOCK;
        break;
      }
      case STATE_WAIT_FOR_LO_LOCK:{
        if(get_microseconds() - begin_lock_timestamp >= PLL_LOCK_DURATION_US){
          field_mem[RADIO_STATE] = STATE_POWER_ON_PA;
        }
        break;
      }
      case STATE_POWER_ON_PA:{
        HAL_GPIO_WritePin(PA_EN_GPIO_Port, PA_EN_Pin, 1);
        begin_lock_timestamp = get_microseconds(); // reuse this timestamp variable
        field_mem[RADIO_STATE] = STATE_WAIT_FOR_PA;
        break;
      }
      case STATE_WAIT_FOR_PA:{
        if(get_microseconds() - begin_lock_timestamp >= 2500){
          // TODO: initialize things for the transmit data phase
          mark_or_space = SPACE;
          frame_byte_ind = -1;
          frame_bit_ind = 0;
          stuff_bit = false;
          seq_ones_count = 0;
          HAL_TIM_Base_Start_IT(&htim1);
          start_fsk_output();
          set_fsk_freq_space();
          last_tx_timestamp = get_microseconds();
          field_mem[RADIO_STATE] = STATE_TRANSMIT;
        }
        break;
      }
      case STATE_TRANSMIT:{
        // if TX done --> field_mem[RADIO_STATE] = STATE_GOTO_IDLE
        if(frame_byte_ind >= tx_frame_len){
           if(field_mem[MODE] == MODE_TEST){
            field_mem[RADIO_STATE] = STATE_WAIT_FOR_PA; // loop back to transmit immediately
          }else{
            field_mem[RADIO_STATE] = STATE_GOTO_IDLE;
          }

        }
        break;
      }

    }
    /* END MAIN STATE MACHINE */

  }else if(htim->Instance == htim1.Instance){

    // baud clock (1.2kHz)
    if(field_mem[RADIO_STATE] == STATE_TRANSMIT){
      HAL_GPIO_WritePin(LED_1_GPIO_Port, LED_1_Pin, 1);
      // advance through the data

      bool change_state = false;

      if(frame_byte_ind < -3){
        set_fsk_freq_mark();
      }
      else if(frame_byte_ind < 0){
        // SEND FRAME DELIMITER
        uint8_t bit = (FRAME_DELIM >> frame_bit_ind) & 1;
        // change_state = !bit; // change state if bit == 0
        if (bit){
          set_fsk_freq_mark();
        }else{
          set_fsk_freq_space();
        }
      }else{
        // SEND FRAME DATA

        // determine if we've seen 5 consecutive 1's
        // if yes, insert a 0 here (stuff bit)
        stuff_bit = (seq_ones_count == 5);

        if (!stuff_bit){
          uint8_t bit = (tx_frame[frame_byte_ind] >> frame_bit_ind) & 1;
          if (bit){
            // DON'T change fsk freq, but increment count of sequential ones
            set_fsk_freq_mark();
            seq_ones_count++;
          }else{
            set_fsk_freq_space();
            seq_ones_count = 0;
            change_state = true; // change fsk freq
          }
        }else{
          seq_ones_count = 0;
          change_state = true;
          set_fsk_freq_space();
        }
      }

      // if(change_state){
      //   mark_or_space = mark_or_space ^ 1; // toggle this
      //   if(mark_or_space == MARK){
      //     set_fsk_freq_mark();
      //   }else{
      //     set_fsk_freq_space();
      //   }
      // }

      if(!stuff_bit){
        frame_bit_ind++;
        if(frame_bit_ind > 7){
          frame_bit_ind = 0;
          frame_byte_ind++;
        }
      }
       HAL_GPIO_WritePin(LED_1_GPIO_Port, LED_1_Pin, 0);
    }
  }
}

void HAL_GPIO_EXTI_Callback(uint16_t GPIO_Pin){
  if(GPIO_Pin == GPS_PPS_Pin){
    HAL_GPIO_TogglePin(LED_0_GPIO_Port, LED_0_Pin);
    /* get timestamp accurate to the ~microsecond (really +/-1us) */
    uint64_t add_us = (__HAL_TIM_GET_COUNTER(&htim2))/72;
    uint64_t stamp = get_microseconds() + add_us;
    // stamp is now the "extra-precise" XO time (what time we think it is)

    if(last_pps_timestamp > 0){
      pps_duration_us = stamp - last_pps_timestamp;
      gps_microseconds += 1000000;
      // gps_microseconds is now the time it *actually* is according to GPS
    }else{
      // initial setting of these to something reasonable
      pps_duration_us = 1000000;
      gps_microseconds = stamp;
    }
    gps_local_discrepancy = gps_microseconds - stamp;
    if(gps_local_discrepancy > 2 || gps_local_discrepancy < -2){
      // if discrepancy is large enough to be real, correct it
      microseconds += gps_local_discrepancy;
    }
    last_pps_timestamp = stamp;
  }
}

/* USER CODE END 4 */

void Error_Handler(void)
{
  __disable_irq();
  while (1)
  {
  }
}
